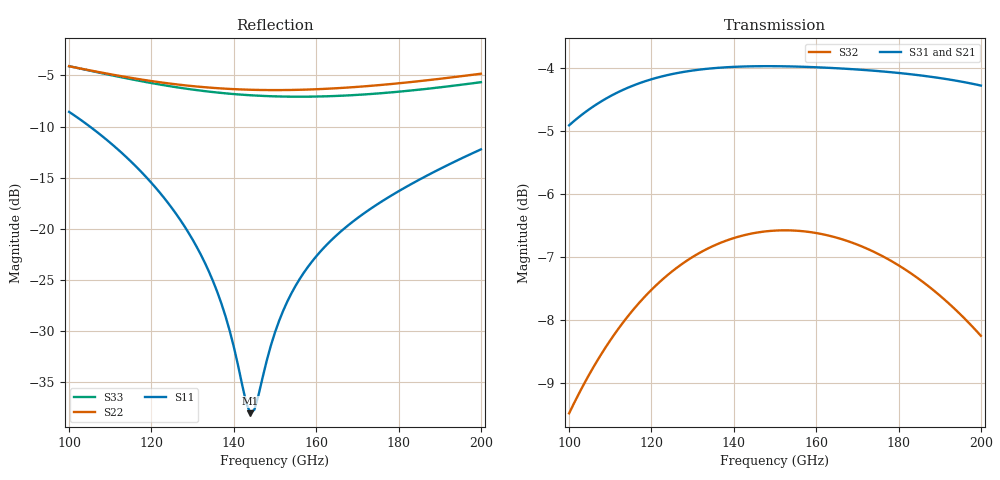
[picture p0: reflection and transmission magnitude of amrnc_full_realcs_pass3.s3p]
! Created with skrf 2.1.0 (http://scikit-rf.org).
# GHz S DB R 50.0
! Port[1] = P1
! Port[2] = P2
! Port[3] = P3
!freq dBS11 angS11 dBS12 angS12 dBS13 angS13
! dBS21 angS21 dBS22 angS22 dBS23 angS23
! dBS31 angS31 dBS32 angS32 dBS33 angS33
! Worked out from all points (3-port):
!   101 points, 100 GHz to 200 GHz, reference 50 ohm
!   strongest paths, dB at 100 GHz, 125 GHz, 150 GHz, 175 GHz, 200 GHz:
!     S31: -4.9, -4.1, -4.0, -4.1, -4.3
!     S21: -4.7, -4.0, -4.0, -4.2, -4.7
!     S32: -9.5, -7.2, -6.6, -7.0, -8.3
!   lowest |S11| = -38.0 dB at 144 GHz (marker M1), VSWR 1.03, Z = 48.8 + j0.36 ohm
!   |S11| at or under -10 dB: 105 GHz to end of sweep
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100  -8.57 129.0  -4.66 -11.7  -4.92 164.5
     -4.66 -11.7  -4.11 60.2  -9.49 90.4
     -4.92 164.5  -9.49 90.4  -4.10 50.2
117  -14.21 107.5  -4.09 -37.9  -4.25 136.8
     -4.09 -37.9  -5.37 45.0  -7.73 64.7
     -4.25 136.8  -7.73 64.7  -5.53 32.6
129  -20.38 98.5  -3.96 -54.7  -4.05 119.0
     -3.96 -54.7  -6.01 35.9  -7.05 47.8
     -4.05 119.0  -7.05 47.8  -6.33 22.1
137  -27.32 100.9  -3.95 -65.3  -4.00 107.7
     -3.95 -65.3  -6.28 30.2  -6.77 37.2
     -4.00 107.7  -6.77 37.2  -6.72 15.8
144  -38.02 162.9  -3.96 -74.2  -3.98 98.3
     -3.96 -74.2  -6.40 25.2  -6.64 28.2
     -3.98 98.3  -6.64 28.2  -6.94 10.4
145  -37.66 -174.3  -3.97 -75.5  -3.98 96.9
     -3.97 -75.5  -6.41 24.5  -6.63 26.9
     -3.98 96.9  -6.63 26.9  -6.96 9.7
150  -30.11 -128.4  -3.99 -81.7  -3.98 90.3
     -3.99 -81.7  -6.44 20.9  -6.59 20.7
     -3.98 90.3  -6.59 20.7  -7.05 5.9
156  -24.89 -120.7  -4.04 -89.0  -3.98 82.6
     -4.04 -89.0  -6.41 16.5  -6.59 13.3
     -3.98 82.6  -6.59 13.3  -7.08 1.4
166  -20.25 -120.1  -4.13 -101.0  -4.01 69.9
     -4.13 -101.0  -6.23 8.8  -6.72 1.3
     -4.01 69.9  -6.72 1.3  -6.99 -6.4
200  -12.23 -133.3  -4.70 -142.1  -4.28 26.8
     -4.70 -142.1  -4.84 -21.3  -8.26 -38.8
     -4.28 26.8  -8.26 -38.8  -5.67 -35.6
